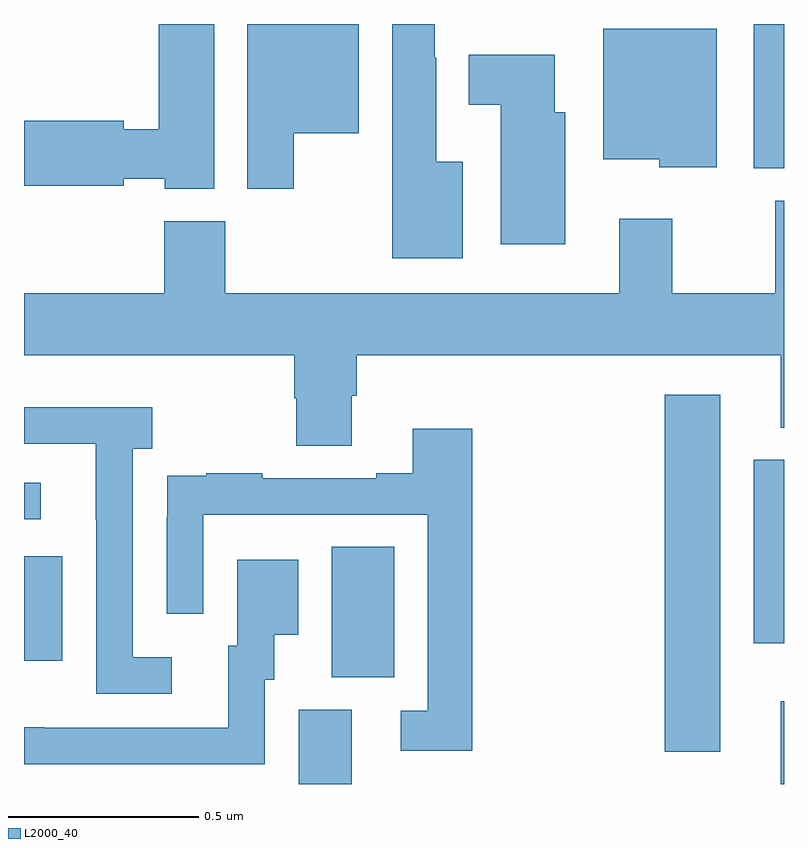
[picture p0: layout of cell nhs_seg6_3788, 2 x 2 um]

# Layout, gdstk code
import gdstk
lib = gdstk.Library(unit=1e-6, precision=1e-09)
def R(c, l, rs):  # rectangles x0, y0, x1, y1
    for r in rs: c.add(gdstk.rectangle(r[:2], r[2:], *l))
def P(c, l, *ps):  # polygons
    for p in ps: c.add(gdstk.Polygon(p, *l))
L2000_40 = (2000, 40)

nhs_seg6_3788 = lib.new_cell('nhs_seg6_3788')
R(nhs_seg6_3788, L2000_40, [(161.723,987.5,161.863,987.696), (162.992,987.5,163,987.718), (162.686,987.585,162.832,988.525), (161.81,987.781,161.974,988.124), (161,987.825,161.101,988.099), (162.921,987.87,163,988.353), (161,988.197,161.044,988.293), (162.92,989.12,163,989.5)])
P(nhs_seg6_3788, L2000_40, [(161.5,989.5),(161.354,989.5),(161.354,989.223),(161.262,989.223),(161.262,989.246),(161,989.246),(161,989.075),(161.262,989.075),(161.262,989.093),(161.37,989.093),(161.37,989.066),(161.5,989.066)],
  [(162.154,989.137),(162.085,989.137),(162.085,989.411),(162.081,989.411),(162.081,989.5),(161.969,989.5),(161.969,988.883),(162.154,988.883)],
  [(161.71,989.213),(161.881,989.213),(161.881,989.5),(161.588,989.5),(161.588,989.067),(161.71,989.067)],
  [(162.823,989.488),(162.524,989.488),(162.524,989.144),(162.672,989.144),(162.672,989.123),(162.823,989.123)],
  [(162.424,989.268),(162.397,989.268),(162.397,989.419),(162.17,989.419),(162.17,989.288),(162.254,989.288),(162.254,988.92),(162.424,988.92)],
  [(161.863,988.522),(161.876,988.522),(161.876,988.628),(162.992,988.628),(162.992,988.438),(163,988.438),(163,989.035),(162.977,989.035),(162.977,988.792),(162.706,988.792),(162.706,988.987),(162.566,988.987),(162.566,988.792),(161.529,988.792),(161.529,988.981),(161.369,988.981),(161.369,988.792),(161,988.792),(161,988.628),(161.711,988.628),(161.711,988.515),(161.716,988.515),(161.716,988.39),(161.863,988.39)],
  [(161.389,987.834),(161.286,987.834),(161.286,988.382),(161.338,988.382),(161.338,988.492),(161,988.492),(161,988.395),(161.189,988.395),(161.189,988.195),(161.19,988.195),(161.19,987.738),(161.389,987.738)],
  [(162.179,988.435),(162.023,988.435),(162.023,988.318),(161.927,988.318),(161.927,988.305),(161.627,988.305),(161.627,988.318),(161.479,988.318),(161.479,988.311),(161.377,988.311),(161.377,988.202),(161.376,988.202),(161.376,987.948),(161.472,987.948),(161.472,988.209),(162.063,988.209),(162.063,987.693),(161.991,987.693),(161.991,987.588),(162.179,987.588)],
  [(161.634,987.774),(161.659,987.774),(161.659,987.893),(161.722,987.893),(161.722,988.09),(161.561,988.09),(161.561,987.864),(161.537,987.864),(161.537,987.648),(161.053,987.648),(161.053,987.649),(161,987.649),(161,987.552),(161.634,987.552)])

lib.write_gds('nhs_seg6_3788.gds')
